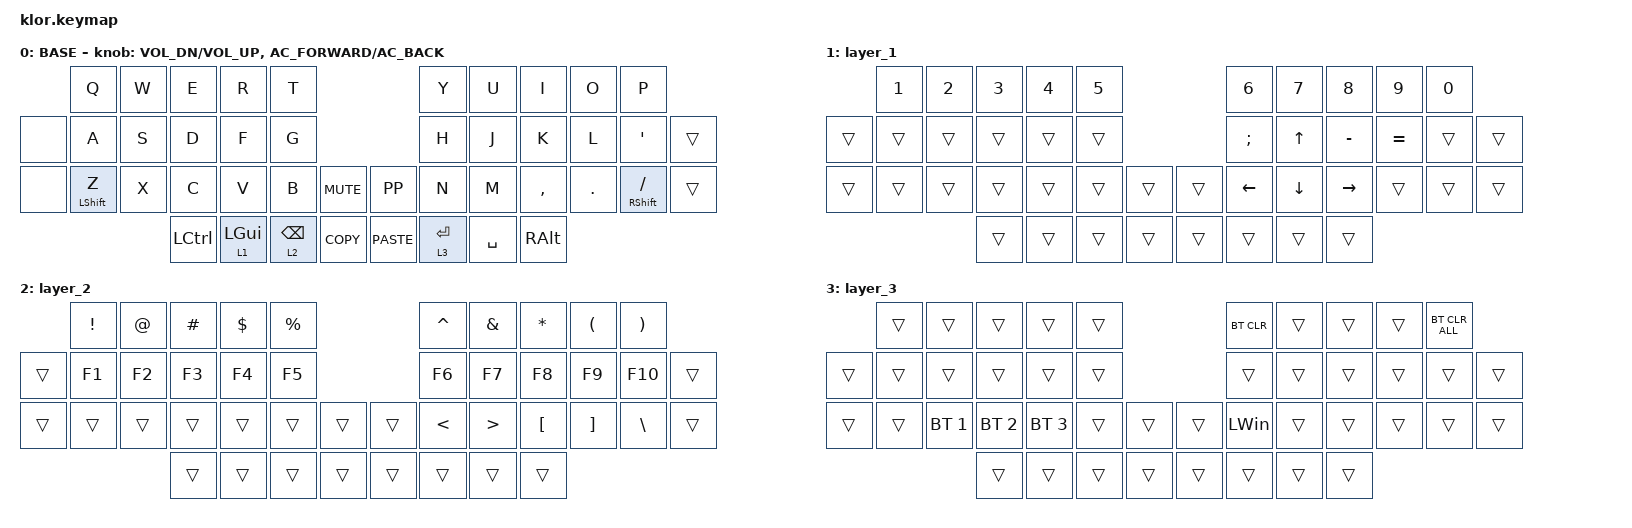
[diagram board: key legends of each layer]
#include <behaviors.dtsi>
#include <dt-bindings/zmk/bt.h>
#include <dt-bindings/zmk/keys.h>

#define BASE   0
#define RAISE  1
#define LOWER  2
#define ADJUST 3

&sensors {
    left_encoder { triggers-per-rotation = <15>; };

    right_encoder { triggers-per-rotation = <15>; };
};

/ {
    behaviors {
        hm: homerow_mods {
            compatible = "zmk,behavior-hold-tap";
            label = "HOMEROW_MODS";
            #binding-cells = <2>;
            tapping-term-ms = <250>;
            quick_tap_ms = <0>;
            flavor = "tap-preferred";
            bindings = <&kp>, <&kp>;
        };
    };

    combos {
        compatible = "zmk,combos";

        combo_esc {
            timeout-ms = <50>;
            key-positions = <0 1>;
            bindings = <&kp ESC>;
        };

        Caps {
            bindings = <&kp CLCK>;
            key-positions = <34 33>;
        };

        Tab {
            bindings = <&kp TAB>;
            key-positions = <3 2>;
        };

        Delete {
            bindings = <&kp DEL>;
            key-positions = <8 9>;
        };
    };

    keymap {
        compatible = "zmk,keymap";

        // ▄▄▄▄▄▄▄▄▄▄▄▄▄▄▄▄▄▄▄▄▄▄▄▄▄▄▄▄▄▄▄▄▄▄▄▄▄▄▄▄▄▄▄▄▄▄▄▄▄▄▄▄▄▄▄▄▄▄▄▄▄▄▄▄▄▄▄▄▄▄▄▄▄▄▄▄▄▄▄▄▄▄▄▄▄▄▄▄▄▄▄▄▄▄▄▄▄▄▄▄▄▄▄▄▄▄▄▄▄▄▄▄▄▄▄▄▄▄▄▄▄▄▄▄▄▄▄▄▄▄▄▄▄▄▄▄▄▄▄▄▄▄

        base_layer {
            // ┌───────────────────────────────────────────────────────────┐

            label = "BASE";

            // └───────────────────────────────────────────────────────────┘
            /*           ┌─────────┬─────────┬─────────┬─────────┬─────────┐                    ┌─────────┬─────────┬─────────┬─────────┬─────────┐
              │    Q    │    W    │    E    │    R    │    T    │                    │    Y    │    U    │    I    │    O    │    P    │   
    ┌─────────┼─────────┼─────────┼─────────┼─────────┼─────────┤                    ├─────────┼─────────┼─────────┼─────────┼─────────┼─────────┐
    │   TAB   │    A    │    S    │    D    │    F    │    G    │                    │    H    │    J    │    K    │    L    │    ;    │    '    │
    ├─────────┼─────────┼─────────┼─────────┼─────────┼─────────┤╭────────╮╭────────╮├─────────┼─────────┼─────────┼─────────┼─────────┼─────────┤
    │   CTRL  │    Z    │    X    │    C    │    V    │    B    ││  MUTE  ││PLY/PSE ││    N    │    M    │    ,    │    .    │    /    │    \    │
    └─────────┴─────────┴─────────┼─────────┼─────────┼─────────┼╰────────╯╰────────╯┼─────────┼─────────┼─────────┼─────────┴─────────┴─────────┘
                                  │  LALT   │  LOWER  │  RALT   │  SPACE  ││  BSPCE  │  ENTER  │  RAISE  │    DEL  │  
                                  └─────────┴─────────┴─────────┴─────────┘└─────────┴─────────┴─────────┴─────────┘ */

            bindings = <
       &kp Q             &kp W  &kp E             &kp R           &kp T                                     &kp Y        &kp U      &kp I          &kp O    &kp P
&none  &kp A             &kp S  &kp D             &kp F           &kp G                                     &kp H        &kp J      &kp K          &kp L    &kp SQT                &trans
&none  &mt LEFT_SHIFT Z  &kp X  &kp C             &kp V           &kp B            &kp C_MUTE  &kp K_PP     &kp N        &kp M      &kp COMMA      &kp DOT  &mt RIGHT_SHIFT SLASH  &trans
                                &kp LEFT_CONTROL  &lt 1 LEFT_GUI  &lt 2 BACKSPACE  &kp K_COPY  &kp K_PASTE  &lt 3 ENTER  &kp SPACE  &kp RIGHT_ALT
            >;

            sensor-bindings = <&inc_dec_kp C_VOL_DN C_VOL_UP &inc_dec_kp C_AC_FORWARD C_AC_BACK>;
        };

        // ▄▄▄▄▄▄▄▄▄▄▄▄▄▄▄▄▄▄▄▄▄▄▄▄▄▄▄▄▄▄▄▄▄▄▄▄▄▄▄▄▄▄▄▄▄▄▄▄▄▄▄▄▄▄▄▄▄▄▄▄▄▄▄▄▄▄▄▄▄▄▄▄▄▄▄▄▄▄▄▄▄▄▄▄▄▄▄▄▄▄▄▄▄▄▄▄▄▄▄▄▄▄▄▄▄▄▄▄▄▄▄▄▄▄▄▄▄▄▄▄▄▄▄▄▄▄▄▄▄▄▄▄▄▄▄▄▄▄▄▄▄▄
        // ▄▄▄▄▄▄▄▄▄▄▄▄▄▄▄▄▄▄▄▄▄▄▄▄▄▄▄▄▄▄▄▄▄▄▄▄▄▄▄▄▄▄▄▄▄▄▄▄▄▄▄▄▄▄▄▄▄▄▄▄▄▄▄▄▄▄▄▄▄▄▄▄▄▄▄▄▄▄▄▄▄▄▄▄▄▄▄▄▄▄▄▄▄▄▄▄▄▄▄▄▄▄▄▄▄▄▄▄▄▄▄▄▄▄▄▄▄▄▄▄▄▄▄▄▄
        // ▄▄▄▄▄▄▄▄▄▄▄▄▄▄▄▄▄▄▄▄▄▄▄▄▄▄▄▄▄▄▄▄▄▄▄▄▄▄▄▄▄▄▄▄▄▄▄▄▄▄▄▄▄▄▄▄▄▄▄▄▄▄▄▄▄▄▄▄▄▄▄▄▄▄▄▄▄▄▄▄▄▄▄▄▄▄▄▄▄▄▄▄▄▄▄▄▄▄▄▄▄▄▄▄▄▄▄▄▄▄▄▄▄▄▄▄▄▄▄▄▄▄▄▄▄

        layer_1 {
            bindings = <
        &kp NUMBER_1  &kp NUMBER_2  &kp NUMBER_3  &kp NUMBER_4  &kp N5                  &kp NUMBER_6   &kp N7    &kp NUMBER_8  &kp NUMBER_9  &kp NUMBER_0
&trans  &trans        &trans        &trans        &trans        &trans                  &kp SEMICOLON  &kp UP    &kp MINUS     &kp EQUAL     &trans        &trans
&trans  &trans        &trans        &trans        &trans        &trans  &trans  &trans  &kp LEFT       &kp DOWN  &kp RIGHT     &trans        &trans        &trans
                                    &trans        &trans        &trans  &trans  &trans  &trans         &trans    &trans
            >;
        };

        layer_2 {
            bindings = <
        &kp EXCLAMATION  &kp AT_SIGN  &kp HASH  &kp DOLLAR  &kp PERCENT                  &kp CARET      &kp AMPERSAND     &kp ASTERISK      &kp LEFT_PARENTHESIS  &kp RIGHT_PARENTHESIS
&trans  &kp F1           &kp F2       &kp F3    &kp F4      &kp F5                       &kp F6         &kp F7            &kp F8            &kp F9                &kp F10                &trans
&trans  &trans           &trans       &trans    &trans      &trans       &trans  &trans  &kp LESS_THAN  &kp GREATER_THAN  &kp LEFT_BRACKET  &kp RIGHT_BRACKET     &kp BACKSLASH          &trans
                                      &trans    &trans      &trans       &trans  &trans  &trans         &trans            &trans
            >;
        };

        layer_3 {
            bindings = <
        &trans  &trans        &trans        &trans        &trans                  &bt BT_CLR  &trans  &trans  &trans  &bt BT_CLR_ALL
&trans  &trans  &trans        &trans        &trans        &trans                  &trans      &trans  &trans  &trans  &trans          &trans
&trans  &trans  &bt BT_SEL 1  &bt BT_SEL 2  &bt BT_SEL 3  &trans  &trans  &trans  &kp LWIN    &trans  &trans  &trans  &trans          &trans
                              &trans        &trans        &trans  &trans  &trans  &trans      &trans  &trans
            >;
        };
    };
};
